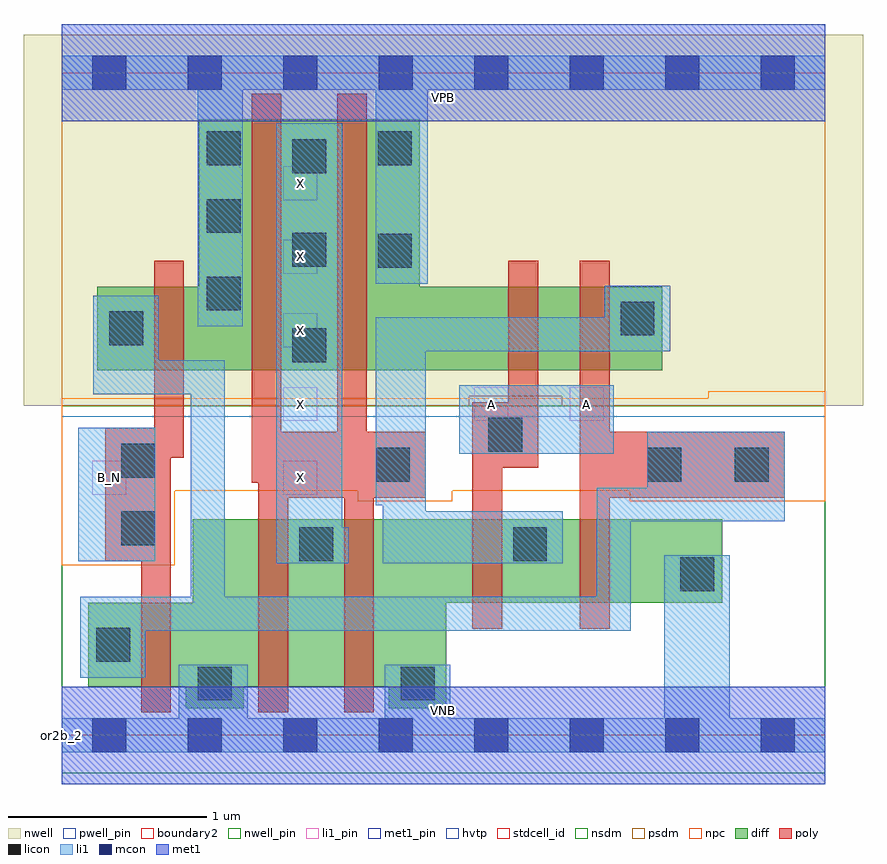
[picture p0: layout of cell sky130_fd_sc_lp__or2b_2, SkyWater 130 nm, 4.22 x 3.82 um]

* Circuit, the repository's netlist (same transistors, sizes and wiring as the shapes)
* Copyright 2020 The SkyWater PDK Authors
*
* Licensed under the Apache License, Version 2.0 (the "License");
* you may not use this file except in compliance with the License.
* You may obtain a copy of the License at
*
*     https://www.apache.org/licenses/LICENSE-2.0
*
* Unless required by applicable law or agreed to in writing, software
* distributed under the License is distributed on an "AS IS" BASIS,
* WITHOUT WARRANTIES OR CONDITIONS OF ANY KIND, either express or implied.
* See the License for the specific language governing permissions and
* limitations under the License.
*
* SPDX-License-Identifier: Apache-2.0

.SUBCKT sky130_fd_sc_lp__or2b_2 A B_N VGND VNB VPB VPWR X
*.PININFO A:I B_N:I VGND:I VNB:I VPB:I VPWR:I X:O
MMP0 VPWR A sndPA VPB sky130_fd_pr__pfet_01v8_hvt m=1 w=0.42U l=0.15U mult=1 sa=0.265
+ sb=0.265 sd=0.28 area=0.063 perim=1.14
MMP1 sndPA B y VPB sky130_fd_pr__pfet_01v8_hvt m=1 w=0.42U l=0.15U mult=1 sa=0.265
+ sb=0.265 sd=0.28 area=0.063 perim=1.14
MMIP1 B B_N VPWR VPB sky130_fd_pr__pfet_01v8_hvt m=1 w=0.42U l=0.15U mult=1 sa=0.265
+ sb=0.265 sd=0.28 area=0.063 perim=1.14
MMIP2 X y VPWR VPB sky130_fd_pr__pfet_01v8_hvt m=2 w=1.26U l=0.15U mult=1 sa=0.265
+ sb=0.265 sd=0.28 area=0.063 perim=1.14
MMN0 y A VGND VNB sky130_fd_pr__nfet_01v8 m=1 w=0.42U l=0.15U mult=1 sa=0.265 sb=0.265
+ sd=0.28 area=0.063 perim=1.14
MMN1 y B VGND VNB sky130_fd_pr__nfet_01v8 m=1 w=0.42U l=0.15U mult=1 sa=0.265 sb=0.265
+ sd=0.28 area=0.063 perim=1.14
MMIN1 B B_N VGND VNB sky130_fd_pr__nfet_01v8 m=1 w=0.42U l=0.15U mult=1 sa=0.265
+ sb=0.265 sd=0.28 area=0.063 perim=1.14
MMIN2 X y VGND VNB sky130_fd_pr__nfet_01v8 m=2 w=0.84U l=0.15U mult=1 sa=0.265
+ sb=0.265 sd=0.28 area=0.063 perim=1.14
.ENDS sky130_fd_sc_lp__or2b_2

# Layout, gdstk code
import gdstk
lib = gdstk.Library(unit=1e-6, precision=1e-09)
def R(c, l, rs):  # rectangles x0, y0, x1, y1
    for r in rs: c.add(gdstk.rectangle(r[:2], r[2:], *l))
def A(c, l, x, y, w, h, nx, ny, dx, dy):  # array of equal rectangles
    R(c, l, [(x+i*dx, y+j*dy, x+i*dx+w, y+j*dy+h) for i in range(nx) for j in range(ny)])
def P(c, l, *ps):  # polygons
    for p in ps: c.add(gdstk.Polygon(p, *l))
nwell_pin = (64, 16)
nwell = (64, 20)
diff = (65, 20)
poly = (66, 20)
licon = (66, 44)
li1_pin = (67, 16)
li1 = (67, 20)
mcon = (67, 44)
met1_pin = (68, 16)
met1 = (68, 20)
hvtp = (78, 44)
stdcell_id = (81, 4)
nsdm = (93, 44)
psdm = (94, 20)
npc = (95, 20)
pwell_pin = (122, 16)
boundary2 = (236, 0)

sky130_fd_sc_lp__or2b_2 = lib.new_cell('sky130_fd_sc_lp__or2b_2')
R(sky130_fd_sc_lp__or2b_2, nwell_pin, [(0,3.085,3.84,3.33)])
R(sky130_fd_sc_lp__or2b_2, nwell, [(-0.19,1.655,4.03,3.52)])
P(sky130_fd_sc_lp__or2b_2, diff, [(3.02,2.255),(1.8,2.255),(1.8,3.095),(0.69,3.095),(0.69,2.255),(0.18,2.255),(0.18,1.835),(3.02,1.835)],
  [(3.32,1.085),(0.66,1.085),(0.66,0.665),(0.135,0.665),(0.135,0.245),(0.625,0.245),(0.625,0.135),(0.915,0.135),(0.915,0.245),(1.645,0.245),(1.645,0.135),(1.935,0.135),(1.935,0.665),(3.32,0.665)])
P(sky130_fd_sc_lp__or2b_2, poly, [(0.615,2.385),(0.465,2.385),(0.465,1.545),(0.22,1.545),(0.22,0.875),(0.4,0.875),(0.4,0.115),(0.55,0.115),(0.55,1.395),(0.615,1.395)],
  [(1.83,1.525),(1.535,1.525),(1.535,3.225),(1.385,3.225),(1.385,1.525),(1.105,1.525),(1.105,3.225),(0.955,3.225),(0.955,1.27),(0.99,1.27),(0.99,0.115),(1.14,0.115),(1.14,1.195),(1.42,1.195),(1.42,0.115),(1.57,0.115),(1.57,1.195),(1.83,1.195)],
  [(2.395,2.385),(2.245,2.385),(2.245,1.675),(2.065,1.675),(2.065,0.535),(2.215,0.535),(2.215,1.345),(2.395,1.345)],
  [(3.635,1.525),(2.755,1.525),(2.755,2.385),(2.605,2.385),(2.605,0.535),(2.755,0.535),(2.755,1.195),(3.635,1.195)])
R(sky130_fd_sc_lp__or2b_2, licon, [(0.685,0.175,0.855,0.345), (1.705,0.175,1.875,0.345), (0.175,0.37,0.345,0.54), (3.11,0.725,3.28,0.895), (1.195,0.875,1.365,1.045), (2.27,0.875,2.44,1.045), (0.3,0.955,0.47,1.125), (1.58,1.275,1.75,1.445), (2.945,1.275,3.115,1.445), (3.385,1.275,3.555,1.445), (0.3,1.295,0.47,1.465), (2.145,1.425,2.315,1.595), (1.16,1.875,1.33,2.045), (0.24,1.96,0.41,2.13), (2.81,2.01,2.98,2.18), (0.73,2.135,0.9,2.305), (1.59,2.35,1.76,2.52), (1.16,2.355,1.33,2.525), (0.73,2.525,0.9,2.695), (1.16,2.825,1.33,2.995), (0.73,2.865,0.9,3.035), (1.59,2.865,1.76,3.035)])
A(sky130_fd_sc_lp__or2b_2, li1_pin, 1.115, 1.21, 0.17, 0.17, 1, 5, 0, 0.37)
R(sky130_fd_sc_lp__or2b_2, li1_pin, [(0.155,1.21,0.325,1.38), (2.075,1.58,2.245,1.75), (2.555,1.58,2.725,1.75)])
R(sky130_fd_sc_lp__or2b_2, li1, [(0.085,0.875,0.47,1.545), (2,1.415,2.775,1.76)])
P(sky130_fd_sc_lp__or2b_2, li1, [(1.445,1.045),(1.41,1.045),(1.41,3.075),(1.08,3.075),(1.08,0.865),(1.445,0.865)],
  [(0.685,2.055),(0.685,3.245),(0,3.245),(0,3.415),(3.84,3.415),(3.84,3.245),(1.84,3.245),(1.84,2.27),(1.58,2.27),(1.58,3.245),(0.91,3.245),(0.91,2.055)],
  [(3.03,0.085),(3.03,0.905),(3.36,0.905),(3.36,0.085),(3.84,0.085),(3.84,-0.085),(0,-0.085),(0,0.085),(0.59,0.085),(0.59,0.355),(0.935,0.355),(0.935,0.085),(1.625,0.085),(1.625,0.355),(1.955,0.355),(1.955,0.085)],
  [(0.095,0.29),(0.095,0.695),(0.65,0.695),(0.65,1.715),(0.16,1.715),(0.16,2.21),(0.49,2.21),(0.49,1.885),(0.82,1.885),(0.82,0.695),(2.69,0.695),(2.69,1.245),(2.945,1.245),(2.945,1.525),(3.635,1.525),(3.635,1.075),(2.86,1.075),(2.86,0.525),(0.42,0.525),(0.42,0.29)],
  [(3.06,2.26),(2.73,2.26),(2.73,2.1),(1.58,2.1),(1.58,1.155),(1.615,1.155),(1.615,0.865),(2.52,0.865),(2.52,1.125),(1.83,1.125),(1.83,1.93),(3.06,1.93)])
A(sky130_fd_sc_lp__or2b_2, mcon, 0.155, -0.085, 0.17, 0.17, 8, 2, 0.48, 3.33)
R(sky130_fd_sc_lp__or2b_2, met1_pin, [(0,0,3.84,0.245), (0,3.085,3.84,3.33)])
R(sky130_fd_sc_lp__or2b_2, met1, [(0,-0.245,3.84,0.245), (0,3.085,3.84,3.575)])
R(sky130_fd_sc_lp__or2b_2, hvtp, [(0,1.6,3.84,3.33)])
R(sky130_fd_sc_lp__or2b_2, stdcell_id, [(0,0,3.84,3.33)])
R(sky130_fd_sc_lp__or2b_2, nsdm, [(0,-0.19,3.84,1.655)])
P(sky130_fd_sc_lp__or2b_2, psdm, [(3.84,3.52),(0,3.52),(0,1.655),(2.05,1.655),(2.05,1.705),(2.515,1.705),(2.515,1.655),(3.84,1.655)])
P(sky130_fd_sc_lp__or2b_2, npc, [(3.84,1.73),(3.25,1.73),(3.25,1.695),(0,1.695),(0,0.855),(0.57,0.855),(0.57,1.23),(1.49,1.23),(1.49,1.175),(1.965,1.175),(1.965,1.23),(2.855,1.23),(2.855,1.175),(3.84,1.175)])
R(sky130_fd_sc_lp__or2b_2, pwell_pin, [(0,0,3.84,0.245)])
R(sky130_fd_sc_lp__or2b_2, boundary2, [(0,0,3.84,3.33)])
sky130_fd_sc_lp__or2b_2.add(gdstk.Label('VNB', (1.92,0.123), layer=64, texttype=59))
sky130_fd_sc_lp__or2b_2.add(gdstk.Label('VPB', (1.92,3.208), layer=64, texttype=5))
sky130_fd_sc_lp__or2b_2.add(gdstk.Label('or2b_2', (0,0), layer=83, texttype=44))
sky130_fd_sc_lp__or2b_2.add(gdstk.Label('VPWR', (1.92,3.208), layer=68, texttype=5))
sky130_fd_sc_lp__or2b_2.add(gdstk.Label('VGND', (1.92,0.123), layer=68, texttype=5))
sky130_fd_sc_lp__or2b_2.add(gdstk.Label('A', (2.16,1.665), layer=67, texttype=5))
sky130_fd_sc_lp__or2b_2.add(gdstk.Label('A', (2.64,1.665), layer=67, texttype=5))
sky130_fd_sc_lp__or2b_2.add(gdstk.Label('B_N', (0.24,1.295), layer=67, texttype=5))
sky130_fd_sc_lp__or2b_2.add(gdstk.Label('X', (1.2,1.295), layer=67, texttype=5))
sky130_fd_sc_lp__or2b_2.add(gdstk.Label('X', (1.2,1.665), layer=67, texttype=5))
sky130_fd_sc_lp__or2b_2.add(gdstk.Label('X', (1.2,2.035), layer=67, texttype=5))
sky130_fd_sc_lp__or2b_2.add(gdstk.Label('X', (1.2,2.405), layer=67, texttype=5))
sky130_fd_sc_lp__or2b_2.add(gdstk.Label('X', (1.2,2.775), layer=67, texttype=5))

lib.write_gds('sky130_fd_sc_lp__or2b_2.gds')
